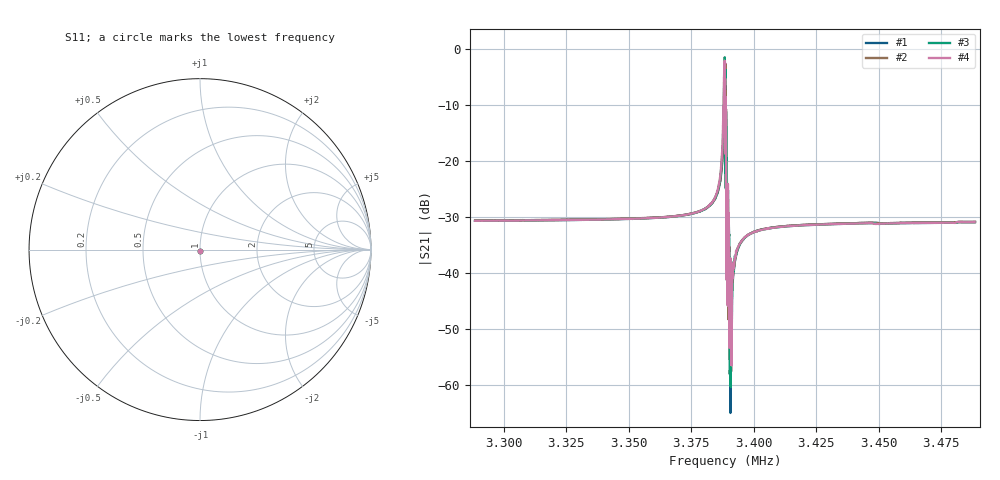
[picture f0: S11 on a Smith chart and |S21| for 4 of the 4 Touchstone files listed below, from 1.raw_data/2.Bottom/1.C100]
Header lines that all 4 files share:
# Hz S dB R 50.000
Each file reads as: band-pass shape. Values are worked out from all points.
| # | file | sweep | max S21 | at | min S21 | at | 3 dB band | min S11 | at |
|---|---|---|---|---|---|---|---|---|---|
| 1 | C100_30C.s2p | 3.289 MHz to 3.489 MHz | -6.47 dB | 3.389 MHz | -65.0 dB | 3.391 MHz | 3.388 MHz-3.389 MHz | -44.0 dB | 3.488 MHz |
| 2 | C100_45C.s2p | 3.289 MHz to 3.489 MHz | -2.50 dB | 3.389 MHz | -57.6 dB | 3.391 MHz | 3.388 MHz-3.389 MHz | -44.7 dB | 3.485 MHz |
| 3 | C100_55C.s2p | 3.288 MHz to 3.488 MHz | -1.42 dB | 3.388 MHz | -60.4 dB | 3.391 MHz | 3.388 MHz-3.388 MHz | -44.0 dB | 3.44 MHz |
| 4 | C100_65C.s2p | 3.288 MHz to 3.488 MHz | -2.04 dB | 3.388 MHz | -56.5 dB | 3.391 MHz | 3.388 MHz-3.388 MHz | -43.8 dB | 3.442 MHz |
